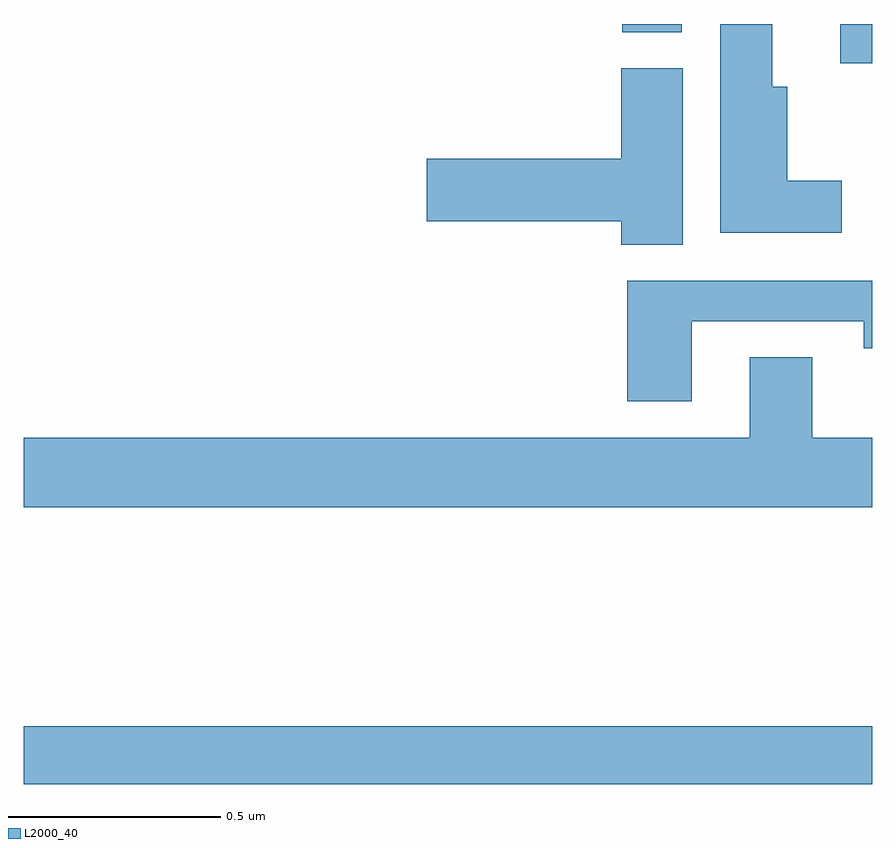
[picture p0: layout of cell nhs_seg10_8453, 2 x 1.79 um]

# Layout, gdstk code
import gdstk
lib = gdstk.Library(unit=1e-6, precision=1e-09)
def R(c, l, rs):  # rectangles x0, y0, x1, y1
    for r in rs: c.add(gdstk.rectangle(r[:2], r[2:], *l))
def P(c, l, *ps):  # polygons
    for p in ps: c.add(gdstk.Polygon(p, *l))
L2000_40 = (2000, 40)

nhs_seg10_8453 = lib.new_cell('nhs_seg10_8453')
R(nhs_seg10_8453, L2000_40, [(217,1255.708,219,1255.844), (218.925,1257.408,219,1257.5), (218.411,1257.481,218.551,1257.5)])
P(nhs_seg10_8453, L2000_40, [(218.929,1257.13),(218.8,1257.13),(218.8,1257.352),(218.764,1257.352),(218.764,1257.5),(218.642,1257.5),(218.642,1257.008),(218.929,1257.008)],
  [(218.554,1257.396),(218.408,1257.396),(218.408,1257.182),(217.95,1257.182),(217.95,1257.035),(218.408,1257.035),(218.408,1256.98),(218.554,1256.98)],
  [(218.575,1256.799),(218.98,1256.799),(218.98,1256.736),(219,1256.736),(219,1256.895),(218.423,1256.895),(218.423,1256.61),(218.575,1256.61)],
  [(219,1256.524),(218.859,1256.524),(218.859,1256.714),(218.711,1256.714),(218.711,1256.524),(217,1256.524),(217,1256.36),(219,1256.36)])

lib.write_gds('nhs_seg10_8453.gds')
